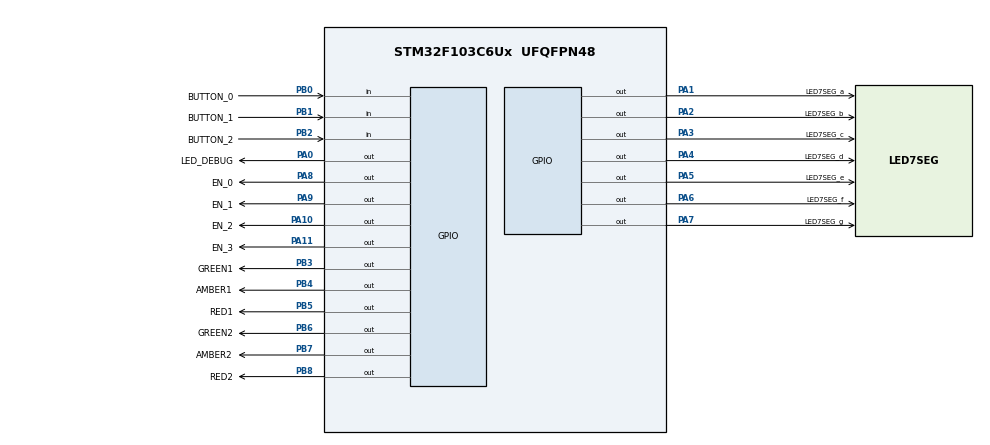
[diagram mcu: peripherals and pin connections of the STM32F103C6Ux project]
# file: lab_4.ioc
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Mcu.Family=STM32F1
Mcu.Name=STM32F103C6Ux
Mcu.Package=UFQFPN48
NVIC.PriorityGroup=NVIC_PRIORITYGROUP_4
NVIC.TIM2_IRQn=true\:0\:0\:false\:false\:true\:true\:true\:true
PA0-WKUP.GPIO_Label=LED_DEBUG
PA0-WKUP.Signal=GPIO_Output
PA1.GPIO_Label=LED7SEG_a
PA1.Signal=GPIO_Output
PA10.GPIO_Label=EN_2
PA10.Signal=GPIO_Output
PA11.GPIO_Label=EN_3
PA11.Signal=GPIO_Output
PA2.GPIO_Label=LED7SEG_b
PA2.Signal=GPIO_Output
PA3.GPIO_Label=LED7SEG_c
PA3.Signal=GPIO_Output
PA4.GPIO_Label=LED7SEG_d
PA4.Signal=GPIO_Output
PA5.GPIO_Label=LED7SEG_e
PA5.Signal=GPIO_Output
PA6.GPIO_Label=LED7SEG_f
PA6.Signal=GPIO_Output
PA7.GPIO_Label=LED7SEG_g
PA7.Signal=GPIO_Output
PA8.GPIO_Label=EN_0
PA8.Signal=GPIO_Output
PA9.GPIO_Label=EN_1
PA9.Signal=GPIO_Output
PB0.GPIO_Label=BUTTON_0
PB0.Signal=GPIO_Input
PB1.GPIO_Label=BUTTON_1
PB1.Signal=GPIO_Input
PB2.GPIO_Label=BUTTON_2
PB2.Signal=GPIO_Input
PB3.GPIO_Label=GREEN1
PB3.Signal=GPIO_Output
PB4.GPIO_Label=AMBER1
PB4.Signal=GPIO_Output
PB5.GPIO_Label=RED1
PB5.Signal=GPIO_Output
PB6.GPIO_Label=GREEN2
PB6.Signal=GPIO_Output
PB7.GPIO_Label=AMBER2
PB7.Signal=GPIO_Output
PB8.GPIO_Label=RED2
PB8.Signal=GPIO_Output
ProjectManager.HeapSize=0x200
ProjectManager.StackSize=0x400
ProjectManager.TargetToolchain=STM32CubeIDE
RCC.APB1Freq_Value=8000000
RCC.APB2Freq_Value=8000000
TIM2.Period=9
TIM2.Prescaler=799
VP_SYS_VS_ND.Mode=No_Debug
VP_TIM2_VS_ClockSourceINT.Mode=Internal
board=custom

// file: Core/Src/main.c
/* USER CODE BEGIN Header */
/**
  ******************************************************************************
  * @file           : main.c
  * @brief          : Main program body
  ******************************************************************************
  * @attention
  *
  * Copyright (c) 2025 STMicroelectronics.
  * All rights reserved.
  *
  * This software is licensed under terms that can be found in the LICENSE file
  * in the root directory of this software component.
  * If no LICENSE file comes with this software, it is provided AS-IS.
  *
  ******************************************************************************
  */
/* USER CODE END Header */
#include "main.h"
#include "tim.h"
#include "gpio.h"

/* USER CODE BEGIN Includes */
#include "scheduler.h"
#include "led7seg.h"
#include "button.h"
#include "fsm_auto.h"
#include "fsm_config.h"
/* USER CODE END Includes */

void SystemClock_Config(void);
/* USER CODE BEGIN PFP */
void system_init(void);
/* USER CODE END PFP */

/* USER CODE BEGIN 0 */
void toggle_led() {
	HAL_GPIO_TogglePin(LED_DEBUG_GPIO_Port, LED_DEBUG_Pin);
}
/* USER CODE END 0 */

int main(void)
{

  /* MCU Configuration--------------------------------------------------------*/

  /* Reset of all peripherals, Initializes the Flash interface and the Systick. */
  HAL_Init();

  /* Configure the system clock */
  SystemClock_Config();

  /* Initialize all configured peripherals */
  MX_GPIO_Init();
  MX_TIM2_Init();
  /* USER CODE BEGIN 2 */
  system_init();
  HAL_GPIO_WritePin(LED_DEBUG_GPIO_Port, LED_DEBUG_Pin, 1);
  SCH_add(toggle_led, 500, 500);
  SCH_add(led7seg_scan, 3, 10);
  SCH_add(button_scan, 5, 10);

  SCH_add(fsm_auto, 7, 10);
  SCH_add(fsm_config, 9, 10);
  /* USER CODE END 2 */

  /* Infinite loop */
  while (1)
  {

    /* USER CODE BEGIN 3 */
  	SCH_dispatch();
  }
  /* USER CODE END 3 */
}

void SystemClock_Config(void)
{
  RCC_OscInitTypeDef RCC_OscInitStruct = {0};
  RCC_ClkInitTypeDef RCC_ClkInitStruct = {0};

  /** Initializes the RCC Oscillators according to the specified parameters
  * in the RCC_OscInitTypeDef structure.
  */
  RCC_OscInitStruct.OscillatorType = RCC_OSCILLATORTYPE_HSI;
  RCC_OscInitStruct.HSIState = RCC_HSI_ON;
  RCC_OscInitStruct.HSICalibrationValue = RCC_HSICALIBRATION_DEFAULT;
  RCC_OscInitStruct.PLL.PLLState = RCC_PLL_NONE;
  if (HAL_RCC_OscConfig(&RCC_OscInitStruct) != HAL_OK)
  {
    Error_Handler();
  }

  /** Initializes the CPU, AHB and APB buses clocks
  */
  RCC_ClkInitStruct.ClockType = RCC_CLOCKTYPE_HCLK|RCC_CLOCKTYPE_SYSCLK
                              |RCC_CLOCKTYPE_PCLK1|RCC_CLOCKTYPE_PCLK2;
  RCC_ClkInitStruct.SYSCLKSource = RCC_SYSCLKSOURCE_HSI;
  RCC_ClkInitStruct.AHBCLKDivider = RCC_SYSCLK_DIV1;
  RCC_ClkInitStruct.APB1CLKDivider = RCC_HCLK_DIV1;
  RCC_ClkInitStruct.APB2CLKDivider = RCC_HCLK_DIV1;

  if (HAL_RCC_ClockConfig(&RCC_ClkInitStruct, FLASH_LATENCY_0) != HAL_OK)
  {
    Error_Handler();
  }
}

/* USER CODE BEGIN 4 */
void system_init(void) {
	SCH_init();
}
/* USER CODE END 4 */

void Error_Handler(void)
{
  __disable_irq();
  while (1)
  {
  }
}
